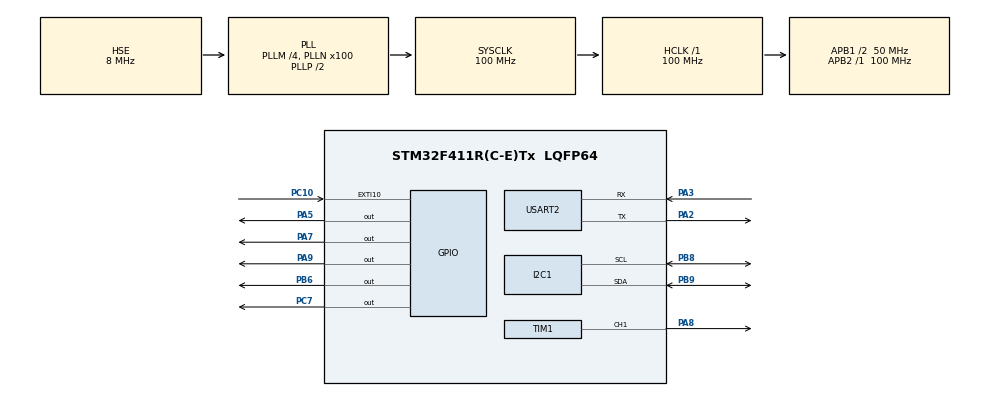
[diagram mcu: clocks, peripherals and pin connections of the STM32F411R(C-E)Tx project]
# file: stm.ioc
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FREERTOS.Queues01=Motion_Queue,64,motion_t,0,Dynamic,NULL,NULL;Cmd_Queue,1,coordinate_t,0,Dynamic,NULL,NULL
FREERTOS.Tasks01=defaultTask,0,128,StartDefaultTask,Default,NULL,Dynamic,NULL,NULL;UART_Task,0,128,Uart,Default,NULL,Dynamic,NULL,NULL;Calc_Task,0,128,Calculation,Default,NULL,Dynamic,NULL,NULL;Motor_Task,1,128,Motor_drive,Default,NULL,Dynamic,NULL,NULL
FREERTOS.configUSE_NEWLIB_REENTRANT=1
Mcu.Family=STM32F4
Mcu.Name=STM32F411R(C-E)Tx
Mcu.Package=LQFP64
NVIC.EXTI15_10_IRQn=true\:5\:0\:false\:false\:true\:false\:true\:true\:true
NVIC.PriorityGroup=NVIC_PRIORITYGROUP_4
NVIC.TIM1_TRG_COM_TIM11_IRQn=true\:15\:0\:false\:false\:true\:false\:false\:true\:true
NVIC.TIM1_UP_TIM10_IRQn=true\:5\:0\:false\:false\:true\:true\:true\:true\:true
NVIC.TIM2_IRQn=true\:5\:0\:false\:false\:true\:true\:true\:true\:true
NVIC.TimeBase=TIM1_TRG_COM_TIM11_IRQn
NVIC.TimeBaseIP=TIM11
NVIC.USART2_IRQn=true\:5\:0\:false\:false\:true\:true\:true\:true\:true
PA13.Mode=Serial_Wire
PA13.Signal=SYS_JTMS-SWDIO
PA14.Mode=Serial_Wire
PA14.Signal=SYS_JTCK-SWCLK
PA2.Mode=Asynchronous
PA2.Signal=USART2_TX
PA3.Mode=Asynchronous
PA3.Signal=USART2_RX
PA5.Signal=GPIO_Output
PA7.Signal=GPIO_Output
PA8.Signal=S_TIM1_CH1
PA9.Signal=GPIO_Output
PB6.Signal=GPIO_Output
PB8.Mode=I2C
PB8.Signal=I2C1_SCL
PB9.Mode=I2C
PB9.Signal=I2C1_SDA
PC10.Signal=GPXTI10
PC7.Signal=GPIO_Output
PH0\ -\ OSC_IN.Mode=HSE-External-Oscillator
PH0\ -\ OSC_IN.Signal=RCC_OSC_IN
PH1\ -\ OSC_OUT.Mode=HSE-External-Oscillator
PH1\ -\ OSC_OUT.Signal=RCC_OSC_OUT
ProjectManager.HeapSize=0x200
ProjectManager.StackSize=0x400
ProjectManager.TargetToolchain=STM32CubeIDE
RCC.48MHZClocksFreq_Value=50000000
RCC.AHBFreq_Value=100000000
RCC.APB1CLKDivider=RCC_HCLK_DIV2
RCC.APB1Freq_Value=50000000
RCC.APB1TimFreq_Value=100000000
RCC.APB2Freq_Value=100000000
RCC.APB2TimFreq_Value=100000000
RCC.CortexFreq_Value=100000000
RCC.HCLKFreq_Value=100000000
RCC.HSE_VALUE=8000000
RCC.HSI_VALUE=16000000
RCC.LSE_VALUE=32768
RCC.PLLM=4
RCC.PLLN=100
RCC.PLLSourceVirtual=RCC_PLLSOURCE_HSE
RCC.SYSCLKFreq_VALUE=100000000
RCC.SYSCLKSource=RCC_SYSCLKSOURCE_PLLCLK
RCC.VCOOutputFreq_Value=200000000
SH.S_TIM1_CH1.0=TIM1_CH1,PWM Generation1 CH1
TIM1.Channel-PWM\ Generation1\ CH1=TIM_CHANNEL_1
TIM1.Period=2000-1
TIM1.Prescaler=100-1
TIM2.AutoReloadPreload=TIM_AUTORELOAD_PRELOAD_ENABLE
TIM2.Period=2000-1
TIM2.Prescaler=100-1
USART2.VirtualMode=VM_ASYNC
VP_FREERTOS_VS_CMSIS_V1.Mode=CMSIS_V1
VP_SYS_VS_tim11.Mode=TIM11
VP_TIM1_VS_ClockSourceINT.Mode=Internal
VP_TIM2_VS_ClockSourceINT.Mode=Internal
board=custom

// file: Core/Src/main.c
/* USER CODE BEGIN Header */
/**
 ******************************************************************************
 * @file           : main.c
 * @brief          : Main program body
 ******************************************************************************
 * @attention
 *
 * Copyright (c) 2026 STMicroelectronics.
 * All rights reserved.
 *
 * This software is licensed under terms that can be found in the LICENSE file
 * in the root directory of this software component.
 * If no LICENSE file comes with this software, it is provided AS-IS.
 *
 ******************************************************************************
 */
/* USER CODE END Header */
#include "main.h"
#include "cmsis_os.h"
#include "i2c.h"
#include "tim.h"
#include "usart.h"
#include "gpio.h"

/* USER CODE BEGIN Includes */
#include "../ap/Presenter/Presenter.h"
#include "../ap/Controller/Controller.h"
/* USER CODE END Includes */

/* USER CODE BEGIN PTD */
extern osThreadId Motor_TaskHandle;

/* USER CODE END PTD */

void SystemClock_Config(void);
void MX_FREERTOS_Init(void);

int main(void)
{

  /* MCU Configuration--------------------------------------------------------*/

  /* Reset of all peripherals, Initializes the Flash interface and the Systick. */
  HAL_Init();

  /* Configure the system clock */
  SystemClock_Config();

  /* Initialize all configured peripherals */
  MX_GPIO_Init();
  MX_TIM1_Init();
  MX_TIM2_Init();
  MX_USART2_UART_Init();
  MX_I2C1_Init();

  /* Call init function for freertos objects (in cmsis_os2.c) */
  MX_FREERTOS_Init();

  /* Start scheduler */
  osKernelStart();

  /* We should never get here as control is now taken by the scheduler */

  /* Infinite loop */
	while (1) {

	}
}

void SystemClock_Config(void)
{
  RCC_OscInitTypeDef RCC_OscInitStruct = {0};
  RCC_ClkInitTypeDef RCC_ClkInitStruct = {0};

  /** Configure the main internal regulator output voltage
  */
  __HAL_RCC_PWR_CLK_ENABLE();
  __HAL_PWR_VOLTAGESCALING_CONFIG(PWR_REGULATOR_VOLTAGE_SCALE1);

  /** Initializes the RCC Oscillators according to the specified parameters
  * in the RCC_OscInitTypeDef structure.
  */
  RCC_OscInitStruct.OscillatorType = RCC_OSCILLATORTYPE_HSE;
  RCC_OscInitStruct.HSEState = RCC_HSE_ON;
  RCC_OscInitStruct.PLL.PLLState = RCC_PLL_ON;
  RCC_OscInitStruct.PLL.PLLSource = RCC_PLLSOURCE_HSE;
  RCC_OscInitStruct.PLL.PLLM = 4;
  RCC_OscInitStruct.PLL.PLLN = 100;
  RCC_OscInitStruct.PLL.PLLP = RCC_PLLP_DIV2;
  RCC_OscInitStruct.PLL.PLLQ = 4;
  if (HAL_RCC_OscConfig(&RCC_OscInitStruct) != HAL_OK)
  {
    Error_Handler();
  }

  /** Initializes the CPU, AHB and APB buses clocks
  */
  RCC_ClkInitStruct.ClockType = RCC_CLOCKTYPE_HCLK|RCC_CLOCKTYPE_SYSCLK
                              |RCC_CLOCKTYPE_PCLK1|RCC_CLOCKTYPE_PCLK2;
  RCC_ClkInitStruct.SYSCLKSource = RCC_SYSCLKSOURCE_PLLCLK;
  RCC_ClkInitStruct.AHBCLKDivider = RCC_SYSCLK_DIV1;
  RCC_ClkInitStruct.APB1CLKDivider = RCC_HCLK_DIV2;
  RCC_ClkInitStruct.APB2CLKDivider = RCC_HCLK_DIV1;

  if (HAL_RCC_ClockConfig(&RCC_ClkInitStruct, FLASH_LATENCY_3) != HAL_OK)
  {
    Error_Handler();
  }
}

void HAL_TIM_PeriodElapsedCallback(TIM_HandleTypeDef *htim)
{
  /* USER CODE BEGIN Callback 0 */
	if (htim->Instance == TIM2) {
		// 1. 모든 스텝을 다 채웠는지 확인
		if (isr_ctx.current_step >= isr_ctx.max_steps) {
			HAL_TIM_Base_Stop_IT(htim);         // 타이머 정지
			osSignalSet(Motor_TaskHandle, 0x01); // Presenter 태스크에 완료 신호 전송
			return;
		}
		// ---------------------------------------------------------
		// 2. 브레젠험 알고리즘 1단계 실행 (물리적 펄스 발생)
		// ---------------------------------------------------------

		// 주축(Master)은 무조건 한 스텝 이동
		if (isr_ctx.is_a_master) {
			// A축이 Master인 경우 // 드라이버에서 코드가져오기
			Step_Set_StepPin(&Step_motor_1, GPIO_PIN_SET);
		} else {
			// B축이 Master인 경우 // 드라이버에서 코드가져오기
			Step_Set_StepPin(&Step_motor_2, GPIO_PIN_SET);
		}

		// 보조축(Slave) 이동 여부 결정
		isr_ctx.error -= isr_ctx.min_steps;
		if (isr_ctx.error < 0) {
			if (isr_ctx.is_a_master) {
				// A가 Master면 B가 Slave // 드라이버에서 코드가져오기
				Step_Set_StepPin(&Step_motor_2, GPIO_PIN_SET);
			} else {
				// B가 Master면 A가 Slave // 드라이버에서 코드가져오기
				Step_Set_StepPin(&Step_motor_1, GPIO_PIN_SET);
			}
			isr_ctx.error += isr_ctx.max_steps;
		}

		// 스텝 펄스 폭 유지를 위한 짧은 지연 (필요 시) 후 LOW (드라이버 사양에 따름)
		// 실제로는 다음 인터럽트 시작 시 LOW로 만들어도 무방함 // 드라이버에서 코드가져오기

		Step_Set_StepPin(&Step_motor_1, GPIO_PIN_RESET);
		Step_Set_StepPin(&Step_motor_2, GPIO_PIN_RESET);
		// ---------------------------------------------------------
		// 3. 가감속 계산 및 다음 ARR 업데이트
		// ---------------------------------------------------------
		isr_ctx.current_step++;
		uint32_t next_arr = isr_ctx.target_arr;

		// 가속 구간 (현재 스텝이 accel_steps보다 작을 때)
		if (isr_ctx.current_step < isr_ctx.accel_steps) {
			// 선형 가속: start_arr에서 target_arr로 서서히 낮아짐 (속도는 빨라짐)
			next_arr = isr_ctx.start_arr
					- ((isr_ctx.start_arr - isr_ctx.target_arr)
							* isr_ctx.current_step / isr_ctx.accel_steps);
		}
		// 감속 구간 (현재 스텝이 decel_start_step보다 클 때)
		else if (isr_ctx.current_step >= isr_ctx.decel_start_step) {
//			HAL_GPIO_WritePin(GPIOA, GPIO_PIN_5, GPIO_PIN_SET);

			uint32_t decel_step_count = isr_ctx.current_step
					- isr_ctx.decel_start_step;
			uint32_t total_decel_steps = isr_ctx.max_steps
					- isr_ctx.decel_start_step;

			if (total_decel_steps > 0) {
				// 선형 감속: target_arr에서 start_arr로 서서히 높아짐 (속도는 느려짐)
				next_arr = isr_ctx.target_arr
						+ ((isr_ctx.start_arr - isr_ctx.target_arr)
								* decel_step_count / total_decel_steps);
			}
		}

		// 다음 인터럽트 주기를 위해 타이머 ARR 업데이트
		__HAL_TIM_SET_AUTORELOAD(htim, next_arr);
	}
  /* USER CODE END Callback 0 */
  if (htim->Instance == TIM11)
  {
    HAL_IncTick();
  }
}

void Error_Handler(void)
{
	__disable_irq();
	while (1) {
	}
}

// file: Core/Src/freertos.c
/* USER CODE BEGIN Header */
/**
 ******************************************************************************
 * File Name          : freertos.c
 * Description        : Code for freertos applications
 ******************************************************************************
 * @attention
 *
 * Copyright (c) 2026 STMicroelectronics.
 * All rights reserved.
 *
 * This software is licensed under terms that can be found in the LICENSE file
 * in the root directory of this software component.
 * If no LICENSE file comes with this software, it is provided AS-IS.
 *
 ******************************************************************************
 */
/* USER CODE END Header */

#include "FreeRTOS.h"
#include "task.h"
#include "main.h"
#include "cmsis_os.h"

/* USER CODE BEGIN Includes */
#include "../ap/Common/types.h"
#include "../ap/Presenter/Presenter.h"
#include "../ap/Controller/Controller.h"
#include "../ap/Listener/Listener.h"
#include "../ap/Common/Common.h"
/* USER CODE END Includes */

osThreadId defaultTaskHandle;
osThreadId UART_TaskHandle;
osThreadId Calc_TaskHandle;
osThreadId Motor_TaskHandle;
osMessageQId Motion_QueueHandle;
osMessageQId Cmd_QueueHandle;

void StartDefaultTask(void const * argument);
void Uart(void const * argument);
void Calculation(void const * argument);
void Motor_drive(void const * argument);

void MX_FREERTOS_Init(void); /* (MISRA C 2004 rule 8.1) */

/* GetIdleTaskMemory prototype (linked to static allocation support) */
void vApplicationGetIdleTaskMemory( StaticTask_t **ppxIdleTaskTCBBuffer, StackType_t **ppxIdleTaskStackBuffer, uint32_t *pulIdleTaskStackSize );

/* USER CODE BEGIN GET_IDLE_TASK_MEMORY */
static StaticTask_t xIdleTaskTCBBuffer;
static StackType_t xIdleStack[configMINIMAL_STACK_SIZE];

void vApplicationGetIdleTaskMemory(StaticTask_t **ppxIdleTaskTCBBuffer,
		StackType_t **ppxIdleTaskStackBuffer, uint32_t *pulIdleTaskStackSize) {
	*ppxIdleTaskTCBBuffer = &xIdleTaskTCBBuffer;
	*ppxIdleTaskStackBuffer = &xIdleStack[0];
	*pulIdleTaskStackSize = configMINIMAL_STACK_SIZE;
	/* place for user code */
}
/* USER CODE END GET_IDLE_TASK_MEMORY */

void MX_FREERTOS_Init(void) {

  /* Create the queue(s) */
  /* definition and creation of Motion_Queue */
  osMessageQDef(Motion_Queue, 64, motion_t);
  Motion_QueueHandle = osMessageCreate(osMessageQ(Motion_Queue), NULL);

  /* definition and creation of Cmd_Queue */
  osMessageQDef(Cmd_Queue, 1, coordinate_t);
  Cmd_QueueHandle = osMessageCreate(osMessageQ(Cmd_Queue), NULL);

  /* Create the thread(s) */
  /* definition and creation of defaultTask */
  osThreadDef(defaultTask, StartDefaultTask, osPriorityNormal, 0, 128);
  defaultTaskHandle = osThreadCreate(osThread(defaultTask), NULL);

  /* definition and creation of UART_Task */
  osThreadDef(UART_Task, Uart, osPriorityNormal, 0, 128);
  UART_TaskHandle = osThreadCreate(osThread(UART_Task), NULL);

  /* definition and creation of Calc_Task */
  osThreadDef(Calc_Task, Calculation, osPriorityNormal, 0, 128);
  Calc_TaskHandle = osThreadCreate(osThread(Calc_Task), NULL);

  /* definition and creation of Motor_Task */
  osThreadDef(Motor_Task, Motor_drive, osPriorityAboveNormal, 0, 128);
  Motor_TaskHandle = osThreadCreate(osThread(Motor_Task), NULL);

}

void StartDefaultTask(void const * argument)
{
	for (;;) {
		osDelay(1);
	}
}

void Uart(void const * argument)
{
  /* USER CODE BEGIN Uart */
	Listener_Init();

	/* Infinite loop */
	for (;;) {
		Listener_Execute();
		osDelay(1);
	}
  /* USER CODE END Uart */
}

void Calculation(void const * argument)
{
  /* USER CODE BEGIN Calculation */
	Controller_Init();
	/* Infinite loop */
	for (;;) {
		Controller_Execute();
		osDelay(1);
	}
  /* USER CODE END Calculation */
}

void Motor_drive(void const * argument)
{
  /* USER CODE BEGIN Motor_drive */
	Presenter_Init();
	/* Infinite loop */
	for (;;) {

		Presenter_Execute();
		osDelay(1);
	}
  /* USER CODE END Motor_drive */
}
